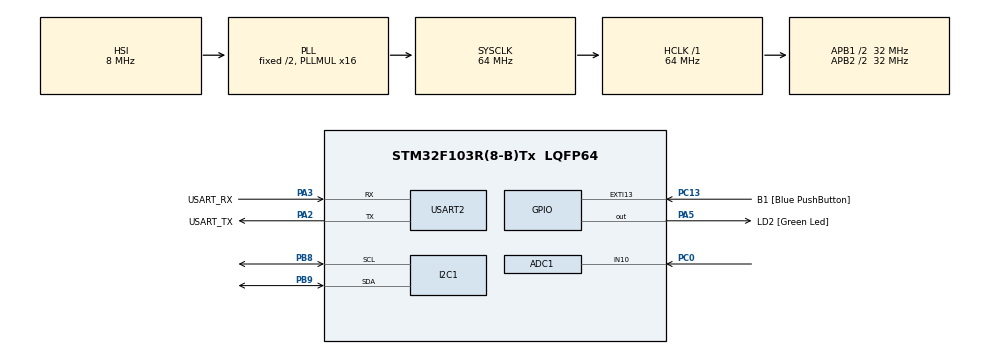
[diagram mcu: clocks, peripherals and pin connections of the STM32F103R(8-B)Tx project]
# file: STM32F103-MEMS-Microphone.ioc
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ADC1.Channel-2\#ChannelRegularConversion=ADC_CHANNEL_10
ADC1.ContinuousConvMode=ENABLE
ADC1.NbrOfConversionFlag=1
ADC1.Rank-2\#ChannelRegularConversion=1
ADC1.SamplingTime-2\#ChannelRegularConversion=ADC_SAMPLETIME_239CYCLES_5
ADC1.master=1
Dma.ADC1.0.Direction=DMA_PERIPH_TO_MEMORY
Dma.ADC1.0.Instance=DMA1_Channel1
Dma.ADC1.0.MemDataAlignment=DMA_MDATAALIGN_HALFWORD
Dma.ADC1.0.MemInc=DMA_MINC_ENABLE
Dma.ADC1.0.Mode=DMA_CIRCULAR
Dma.ADC1.0.PeriphDataAlignment=DMA_PDATAALIGN_HALFWORD
Dma.ADC1.0.PeriphInc=DMA_PINC_DISABLE
Dma.ADC1.0.Priority=DMA_PRIORITY_LOW
Dma.Request0=ADC1
I2C1.I2C_Mode=I2C_Fast
Mcu.Family=STM32F1
Mcu.Name=STM32F103R(8-B)Tx
Mcu.Package=LQFP64
NVIC.DMA1_Channel1_IRQn=true\:0\:0\:false\:false\:true\:false\:true\:true
NVIC.EXTI15_10_IRQn=true\:0\:0\:false\:false\:true\:true\:true\:true
NVIC.PriorityGroup=NVIC_PRIORITYGROUP_4
PA13.GPIO_Label=TMS
PA13.Mode=Serial_Wire
PA13.Signal=SYS_JTMS-SWDIO
PA14.GPIO_Label=TCK
PA14.Mode=Serial_Wire
PA14.Signal=SYS_JTCK-SWCLK
PA2.GPIO_Label=USART_TX
PA2.GPIO_Mode=GPIO_MODE_AF_PP
PA2.GPIO_PuPd=GPIO_NOPULL
PA2.GPIO_Speed=GPIO_SPEED_FREQ_LOW
PA2.Mode=Asynchronous
PA2.Signal=USART2_TX
PA3.GPIO_Label=USART_RX
PA3.GPIO_Mode=GPIO_MODE_AF_PP
PA3.GPIO_PuPd=GPIO_NOPULL
PA3.GPIO_Speed=GPIO_SPEED_FREQ_LOW
PA3.Mode=Asynchronous
PA3.Signal=USART2_RX
PA5.GPIO_Label=LD2 [Green Led]
PA5.GPIO_ModeDefaultOutputPP=GPIO_MODE_OUTPUT_PP
PA5.GPIO_PuPd=GPIO_NOPULL
PA5.GPIO_Speed=GPIO_SPEED_FREQ_LOW
PA5.Signal=GPIO_Output
PB3.GPIO_Label=SWO
PB3.Signal=SYS_JTDO-TRACESWO
PB8.Mode=I2C
PB8.Signal=I2C1_SCL
PB9.Mode=I2C
PB9.Signal=I2C1_SDA
PC0.Signal=ADCx_IN10
PC13-TAMPER-RTC.GPIO_Label=B1 [Blue PushButton]
PC13-TAMPER-RTC.GPIO_ModeDefaultEXTI=GPIO_MODE_IT_FALLING
PC13-TAMPER-RTC.GPIO_PuPd=GPIO_NOPULL
PC13-TAMPER-RTC.Signal=GPXTI13
ProjectManager.HeapSize=0x200
ProjectManager.StackSize=0x400
ProjectManager.TargetToolchain=STM32CubeIDE
RCC.ADCPresc=RCC_ADCPCLK2_DIV4
RCC.AHBFreq_Value=64000000
RCC.APB1CLKDivider=RCC_HCLK_DIV2
RCC.APB1Freq_Value=32000000
RCC.APB1TimFreq_Value=64000000
RCC.APB2CLKDivider=RCC_HCLK_DIV2
RCC.APB2Freq_Value=32000000
RCC.APB2TimFreq_Value=64000000
RCC.HCLKFreq_Value=64000000
RCC.PLLMUL=RCC_PLL_MUL16
RCC.SYSCLKFreq_VALUE=64000000
RCC.SYSCLKSource=RCC_SYSCLKSOURCE_PLLCLK
RCC.USBFreq_Value=64000000
SH.ADCx_IN10.0=ADC1_IN10,IN10
USART2.VirtualMode=VM_ASYNC
board=NUCLEO-F103RB

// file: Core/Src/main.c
/* USER CODE BEGIN Header */
/**
  ******************************************************************************
  * @file           : main.c
  * @brief          : Main program body
  ******************************************************************************
  * @attention
  *
  * Copyright (c) 2025 STMicroelectronics.
  * All rights reserved.
  *
  * This software is licensed under terms that can be found in the LICENSE file
  * in the root directory of this software component.
  * If no LICENSE file comes with this software, it is provided AS-IS.
  *
  ******************************************************************************
  */
/* USER CODE END Header */
#include "main.h"

/* USER CODE BEGIN Includes */
#include "ssd1306.h"
#include "fonts.h"
#include "stdio.h"
#include "math.h"
/* USER CODE END Includes */

/* USER CODE BEGIN PD */
#define ADC_BUF_LEN 4096
#define Vref 3.3
#define ADC_RESOLUTION 4096
#define CONSTANT_IN_SILENCE 1.5		// MEMS output in silence
/* USER CODE END PD */

ADC_HandleTypeDef hadc1;
DMA_HandleTypeDef hdma_adc1;

I2C_HandleTypeDef hi2c1;

UART_HandleTypeDef huart2;

/* USER CODE BEGIN PV */
float total_sum=0, RMS=0;
uint16_t adc_buf[ADC_BUF_LEN];
uint16_t timer=0;
char message_buffer[40];
uint8_t counter=0;				// if ADC buffer size was reduced this may need to change to uint16_t
/* USER CODE END PV */

void SystemClock_Config(void);
static void MX_GPIO_Init(void);
static void MX_DMA_Init(void);
static void MX_I2C1_Init(void);
static void MX_USART2_UART_Init(void);
static void MX_ADC1_Init(void);

int main(void)
{

  /* MCU Configuration--------------------------------------------------------*/

  /* Reset of all peripherals, Initializes the Flash interface and the Systick. */
  HAL_Init();

  /* Configure the system clock */
  SystemClock_Config();

  /* Initialize all configured peripherals */
  MX_GPIO_Init();
  MX_DMA_Init();
  MX_I2C1_Init();
  MX_USART2_UART_Init();
  MX_ADC1_Init();
  /* USER CODE BEGIN 2 */
  SSD1306_Init();

  if(HAL_ADCEx_Calibration_Start(&hadc1) != HAL_OK){
	  Error_Handler();
  };

  if(HAL_ADC_Start_DMA(&hadc1,(uint32_t*)adc_buf,ADC_BUF_LEN) != HAL_OK){
	  Error_Handler();
  };
  /* USER CODE END 2 */

  /* Infinite loop */
  /* USER CODE BEGIN WHILE */
  while (1)
  {

  /*
	if(timer % 500 == 0) {

		RMS = sqrt(total_sum/(counter*(ADC_BUF_LEN/2)));
		sprintf(message_buffer,"RMS Value: %.2f\r\n",RMS);
		HAL_UART_Transmit(&huart2,(uint8_t *)message_buffer,40,HAL_MAX_DELAY);

		if(timer == 2000){									// This if block isn't being executed, probably because data processing
															// in previous block takes more time than 1ms and when the code gets to this
			sprintf(message_buffer,"%.2f",RMS);				// if block the timer is already more than 2000.
			SSD1306_Fill(SSD1306_COLOR_BLACK);
			SSD1306_GotoXY(0,13);
			SSD1306_Puts("RMS Value: ", &Font_7x10, SSD1306_COLOR_WHITE);
			SSD1306_GotoXY(80,13);
			SSD1306_Puts(message_buffer, &Font_7x10, SSD1306_COLOR_WHITE);
			SSD1306_UpdateScreen();
			timer=0;

		}

		counter=0;
		total_sum=0;

	}
  */

	switch(timer){
	case 500:
	case 1000:
	case 1500:
		RMS = sqrt(total_sum/(counter*(ADC_BUF_LEN/2)));
		sprintf(message_buffer,"RMS Value: %.2f\r\n",RMS);
		HAL_UART_Transmit(&huart2,(uint8_t *)message_buffer,40,HAL_MAX_DELAY);
		counter=0;
		total_sum=0;
		break;
	case 2000:
		RMS = sqrt(total_sum/(counter*(ADC_BUF_LEN/2)));
		sprintf(message_buffer,"RMS Value: %.2f\r\n",RMS);
		HAL_UART_Transmit(&huart2,(uint8_t *)message_buffer,40,HAL_MAX_DELAY);
		sprintf(message_buffer,"%.2f",RMS);
		SSD1306_Fill(SSD1306_COLOR_BLACK);
		SSD1306_GotoXY(0,13);
		SSD1306_Puts("RMS Value: ", &Font_7x10, SSD1306_COLOR_WHITE);
		SSD1306_GotoXY(80,13);
		SSD1306_Puts(message_buffer, &Font_7x10, SSD1306_COLOR_WHITE);
		SSD1306_UpdateScreen();
		timer=0;
		counter=0;
		total_sum=0;
		break;
	}
    /* USER CODE END WHILE */

  }
}

void SystemClock_Config(void)
{
  RCC_OscInitTypeDef RCC_OscInitStruct = {0};
  RCC_ClkInitTypeDef RCC_ClkInitStruct = {0};
  RCC_PeriphCLKInitTypeDef PeriphClkInit = {0};

  /** Initializes the RCC Oscillators according to the specified parameters
  * in the RCC_OscInitTypeDef structure.
  */
  RCC_OscInitStruct.OscillatorType = RCC_OSCILLATORTYPE_HSI;
  RCC_OscInitStruct.HSIState = RCC_HSI_ON;
  RCC_OscInitStruct.HSICalibrationValue = RCC_HSICALIBRATION_DEFAULT;
  RCC_OscInitStruct.PLL.PLLState = RCC_PLL_ON;
  RCC_OscInitStruct.PLL.PLLSource = RCC_PLLSOURCE_HSI_DIV2;
  RCC_OscInitStruct.PLL.PLLMUL = RCC_PLL_MUL16;
  if (HAL_RCC_OscConfig(&RCC_OscInitStruct) != HAL_OK)
  {
    Error_Handler();
  }

  /** Initializes the CPU, AHB and APB buses clocks
  */
  RCC_ClkInitStruct.ClockType = RCC_CLOCKTYPE_HCLK|RCC_CLOCKTYPE_SYSCLK
                              |RCC_CLOCKTYPE_PCLK1|RCC_CLOCKTYPE_PCLK2;
  RCC_ClkInitStruct.SYSCLKSource = RCC_SYSCLKSOURCE_PLLCLK;
  RCC_ClkInitStruct.AHBCLKDivider = RCC_SYSCLK_DIV1;
  RCC_ClkInitStruct.APB1CLKDivider = RCC_HCLK_DIV2;
  RCC_ClkInitStruct.APB2CLKDivider = RCC_HCLK_DIV2;

  if (HAL_RCC_ClockConfig(&RCC_ClkInitStruct, FLASH_LATENCY_2) != HAL_OK)
  {
    Error_Handler();
  }
  PeriphClkInit.PeriphClockSelection = RCC_PERIPHCLK_ADC;
  PeriphClkInit.AdcClockSelection = RCC_ADCPCLK2_DIV4;
  if (HAL_RCCEx_PeriphCLKConfig(&PeriphClkInit) != HAL_OK)
  {
    Error_Handler();
  }
}

static void MX_ADC1_Init(void)
{

  ADC_ChannelConfTypeDef sConfig = {0};

  /** Common config
  */
  hadc1.Instance = ADC1;
  hadc1.Init.ScanConvMode = ADC_SCAN_DISABLE;
  hadc1.Init.ContinuousConvMode = ENABLE;
  hadc1.Init.DiscontinuousConvMode = DISABLE;
  hadc1.Init.ExternalTrigConv = ADC_SOFTWARE_START;
  hadc1.Init.DataAlign = ADC_DATAALIGN_RIGHT;
  hadc1.Init.NbrOfConversion = 1;
  if (HAL_ADC_Init(&hadc1) != HAL_OK)
  {
    Error_Handler();
  }

  /** Configure Regular Channel
  */
  sConfig.Channel = ADC_CHANNEL_10;
  sConfig.Rank = ADC_REGULAR_RANK_1;
  sConfig.SamplingTime = ADC_SAMPLETIME_239CYCLES_5;
  if (HAL_ADC_ConfigChannel(&hadc1, &sConfig) != HAL_OK)
  {
    Error_Handler();
  }

}

static void MX_I2C1_Init(void)
{

  hi2c1.Instance = I2C1;
  hi2c1.Init.ClockSpeed = 400000;
  hi2c1.Init.DutyCycle = I2C_DUTYCYCLE_2;
  hi2c1.Init.OwnAddress1 = 0;
  hi2c1.Init.AddressingMode = I2C_ADDRESSINGMODE_7BIT;
  hi2c1.Init.DualAddressMode = I2C_DUALADDRESS_DISABLE;
  hi2c1.Init.OwnAddress2 = 0;
  hi2c1.Init.GeneralCallMode = I2C_GENERALCALL_DISABLE;
  hi2c1.Init.NoStretchMode = I2C_NOSTRETCH_DISABLE;
  if (HAL_I2C_Init(&hi2c1) != HAL_OK)
  {
    Error_Handler();
  }

}

static void MX_USART2_UART_Init(void)
{

  huart2.Instance = USART2;
  huart2.Init.BaudRate = 115200;
  huart2.Init.WordLength = UART_WORDLENGTH_8B;
  huart2.Init.StopBits = UART_STOPBITS_1;
  huart2.Init.Parity = UART_PARITY_NONE;
  huart2.Init.Mode = UART_MODE_TX_RX;
  huart2.Init.HwFlowCtl = UART_HWCONTROL_NONE;
  huart2.Init.OverSampling = UART_OVERSAMPLING_16;
  if (HAL_UART_Init(&huart2) != HAL_OK)
  {
    Error_Handler();
  }

}

static void MX_DMA_Init(void)
{

  /* DMA controller clock enable */
  __HAL_RCC_DMA1_CLK_ENABLE();

  /* DMA interrupt init */
  /* DMA1_Channel1_IRQn interrupt configuration */
  HAL_NVIC_SetPriority(DMA1_Channel1_IRQn, 0, 0);
  HAL_NVIC_EnableIRQ(DMA1_Channel1_IRQn);

}

static void MX_GPIO_Init(void)
{
  GPIO_InitTypeDef GPIO_InitStruct = {0};

  /* GPIO Ports Clock Enable */
  __HAL_RCC_GPIOC_CLK_ENABLE();
  __HAL_RCC_GPIOA_CLK_ENABLE();
  __HAL_RCC_GPIOB_CLK_ENABLE();

  /*Configure GPIO pin Output Level */
  HAL_GPIO_WritePin(LD2_GPIO_Port, LD2_Pin, GPIO_PIN_RESET);

  /*Configure GPIO pin : B1_Pin */
  GPIO_InitStruct.Pin = B1_Pin;
  GPIO_InitStruct.Mode = GPIO_MODE_IT_FALLING;
  GPIO_InitStruct.Pull = GPIO_NOPULL;
  HAL_GPIO_Init(B1_GPIO_Port, &GPIO_InitStruct);

  /*Configure GPIO pin : LD2_Pin */
  GPIO_InitStruct.Pin = LD2_Pin;
  GPIO_InitStruct.Mode = GPIO_MODE_OUTPUT_PP;
  GPIO_InitStruct.Pull = GPIO_NOPULL;
  GPIO_InitStruct.Speed = GPIO_SPEED_FREQ_LOW;
  HAL_GPIO_Init(LD2_GPIO_Port, &GPIO_InitStruct);

  /* EXTI interrupt init*/
  HAL_NVIC_SetPriority(EXTI15_10_IRQn, 0, 0);
  HAL_NVIC_EnableIRQ(EXTI15_10_IRQn);

}

/* USER CODE BEGIN 4 */
void HAL_ADC_ConvHalfCpltCallback(ADC_HandleTypeDef* hadc1){
	for(int i=0; i<ADC_BUF_LEN/2; i++){
		total_sum+=pow((adc_buf[i]*(Vref/(ADC_RESOLUTION-1))-CONSTANT_IN_SILENCE),2);

/*							FOR DEBUGING
 *
 * 		sprintf(message_buffer,"ADC Value: %d, sample: %d\r\n",adc_buf[i],i);
 *		HAL_UART_Transmit(&huart2,(uint8_t *)message_buffer,40,HAL_MAX_DELAY);
 *
 */
	}
	counter++;
}

// Different FOR LOOP index variables in case MCU doesn't finish processing
// half callback data before full callback gets triggered

void HAL_ADC_ConvCpltCallback(ADC_HandleTypeDef* hadc1){
	for(int j=ADC_BUF_LEN/2; j<ADC_BUF_LEN; j++){
		total_sum+=pow((adc_buf[j]*(Vref/(ADC_RESOLUTION-1))-CONSTANT_IN_SILENCE),2);
	}
	counter++;
}
/* USER CODE END 4 */

void Error_Handler(void)
{
  __disable_irq();
  while (1)
  {
  }
}
